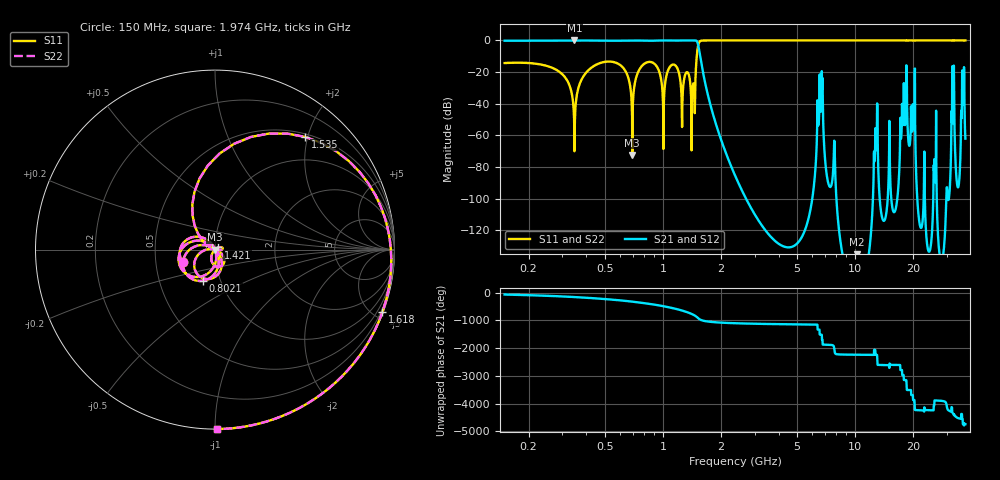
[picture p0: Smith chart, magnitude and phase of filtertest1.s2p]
! markimicrowave.com
! Date: Wed Mar 20 2024 13:44:09 GMT+0100 (Central European Standard Time)
# Hz S DB R 50.00
!Frequency  S11 dB  S11 Deg  S21 dB  S21 Deg  S12 dB  S12 Deg  S22 dB  S22 Deg
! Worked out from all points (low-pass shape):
!   2000 points, 150 MHz to 37.5 GHz, reference 50 ohm
!   highest |S21| = 0.00 dB at 346.4 MHz (marker M1); lowest = -157.9 dB at 10.21 GHz (marker M2)
!   |S21| within 3 dB of the highest: start of sweep to 1.526 GHz
!   lowest |S11| = -72.3 dB at 692.9 MHz (marker M3), VSWR 1.00, Z = 50 - j0.0199 ohm
!   |S11| at or under -10 dB: start of sweep to 1.5 GHz
!   |S22| runs from -72.3 to 0.0 dB; largest |S21 - S12| = 0
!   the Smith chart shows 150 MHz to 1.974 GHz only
!   S11 on the Smith chart (normalised r, x): 150 MHz: 0.69, -0.10; 802.1 MHz: 0.83, -0.30; 1.421 GHz: 1.04, +0.02; 1.535 GHz: 0.55, +1.96; 1.618 GHz: 0.07, -5.52; 1.974 GHz: 0.00, -1.01
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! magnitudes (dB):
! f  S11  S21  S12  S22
! 150 MHz  -14.3  -0.2  -0.2  -14.3
! 346.4 MHz  -70.0  0.0  0.0  -70.0
! 377.4 MHz  -24.7  0.0  0.0  -24.7
! 692.9 MHz  -72.3  0.0  0.0  -72.3
! 802.1 MHz  -14.6  -0.2  -0.2  -14.6
! 946.7 MHz  -18.3  -0.1  -0.1  -18.3
! 1.421 GHz  -32.9  0.0  0.0  -32.9
! 1.535 GHz  -1.9  -4.5  -4.5  -1.9
! 1.618 GHz  0.0  -20.4  -20.4  0.0
! 1.974 GHz  0.0  -60.1  -60.1  0.0
! 2.375 GHz  0.0  -85.4  -85.4  0.0
! 5.958 GHz  0.0  -101.7  -101.7  0.0
! 6.636 GHz  0.0  -44.6  -44.6  0.0
! 7.17 GHz  0.0  -87.4  -87.4  0.0
! 10.21 GHz  0.0  -157.9  -157.9  0.0
! 14.95 GHz  0.0  -86.2  -86.2  0.0
! 18.19 GHz  0.0  -53.5  -53.5  0.0
! 21.35 GHz  0.0  -109.4  -109.4  0.0
! 30.57 GHz  0.0  -100.8  -100.8  0.0
! 32.39 GHz  0.0  -50.8  -50.8  0.0
! 34.33 GHz  0.0  -92.9  -92.9  0.0
! 37.5 GHz  0.0  -62.1  -62.1  0.0
